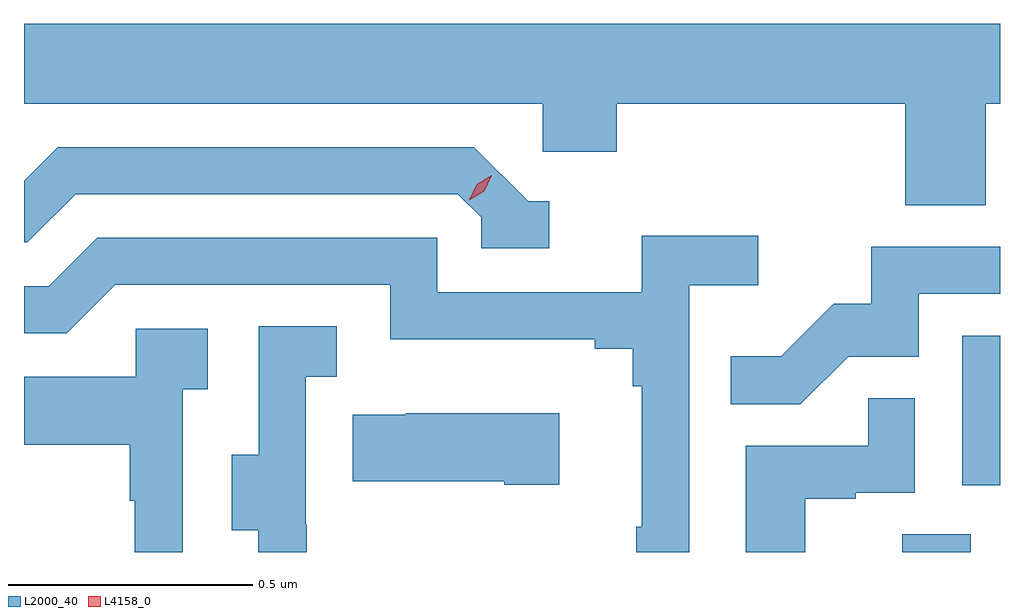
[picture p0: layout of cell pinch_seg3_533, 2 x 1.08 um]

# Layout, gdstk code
import gdstk
lib = gdstk.Library(unit=1e-6, precision=1e-09)
def R(c, l, rs):  # rectangles x0, y0, x1, y1
    for r in rs: c.add(gdstk.rectangle(r[:2], r[2:], *l))
def P(c, l, *ps):  # polygons
    for p in ps: c.add(gdstk.Polygon(p, *l))
L2000_40 = (2000, 40)
L4158_0 = (4158, 0)

pinch_seg3_533 = lib.new_cell('pinch_seg3_533')
R(pinch_seg3_533, L2000_40, [(1082.543,705.325,1082.683,705.362), (1082.666,705.462,1082.743,705.769)])
P(pinch_seg3_533, L2000_40, [(1082.714,706.244),(1082.743,706.244),(1082.743,706.408),(1080.743,706.408),(1080.743,706.244),(1081.806,706.244),(1081.806,706.146),(1081.958,706.146),(1081.958,706.244),(1082.549,706.244),(1082.549,706.036),(1082.714,706.036)],
  [(1081.819,706.044),(1081.776,706.044),(1081.665,706.155),(1080.812,706.155),(1080.743,706.086),(1080.743,705.96),(1080.75,705.96),(1080.849,706.059),(1081.632,706.059),(1081.68,706.011),(1081.68,705.948),(1081.819,705.948)],
  [(1082.106,705.872),(1082.248,705.872),(1082.248,705.974),(1082.009,705.974),(1082.009,705.858),(1081.59,705.858),(1081.59,705.969),(1080.893,705.969),(1080.794,705.87),(1080.743,705.87),(1080.743,705.774),(1080.831,705.774),(1080.93,705.873),(1081.494,705.873),(1081.494,705.761),(1081.913,705.761),(1081.913,705.742),(1081.99,705.742),(1081.99,705.665),(1082.009,705.665),(1082.009,705.377),(1081.998,705.377),(1081.998,705.325),(1082.106,705.325)],
  [(1082.432,705.726),(1082.577,705.726),(1082.577,705.855),(1082.743,705.855),(1082.743,705.951),(1082.479,705.951),(1082.479,705.834),(1082.402,705.834),(1082.295,705.727),(1082.191,705.727),(1082.191,705.628),(1082.334,705.628)],
  [(1081.322,705.381),(1081.32,705.381),(1081.32,705.685),(1081.384,705.685),(1081.384,705.788),(1081.224,705.788),(1081.224,705.525),(1081.169,705.525),(1081.169,705.37),(1081.223,705.37),(1081.223,705.325),(1081.322,705.325)],
  [(1081.068,705.659),(1081.12,705.659),(1081.12,705.783),(1080.972,705.783),(1080.972,705.685),(1080.743,705.685),(1080.743,705.545),(1080.96,705.545),(1080.96,705.431),(1080.97,705.431),(1080.97,705.325),(1081.068,705.325)],
  [(1082.344,705.435),(1082.447,705.435),(1082.447,705.447),(1082.568,705.447),(1082.568,705.641),(1082.473,705.641),(1082.473,705.543),(1082.222,705.543),(1082.222,705.325),(1082.344,705.325)],
  [(1081.84,705.61),(1081.525,705.61),(1081.525,705.607),(1081.417,705.607),(1081.417,705.47),(1081.727,705.47),(1081.727,705.463),(1081.84,705.463)])
P(pinch_seg3_533, L4158_0, [(1081.655,706.046),(1081.655,706.046),(1081.671,706.079),(1081.702,706.098),(1081.702,706.098),(1081.702,706.098),(1081.686,706.065),(1081.655,706.046)])

lib.write_gds('pinch_seg3_533.gds')
